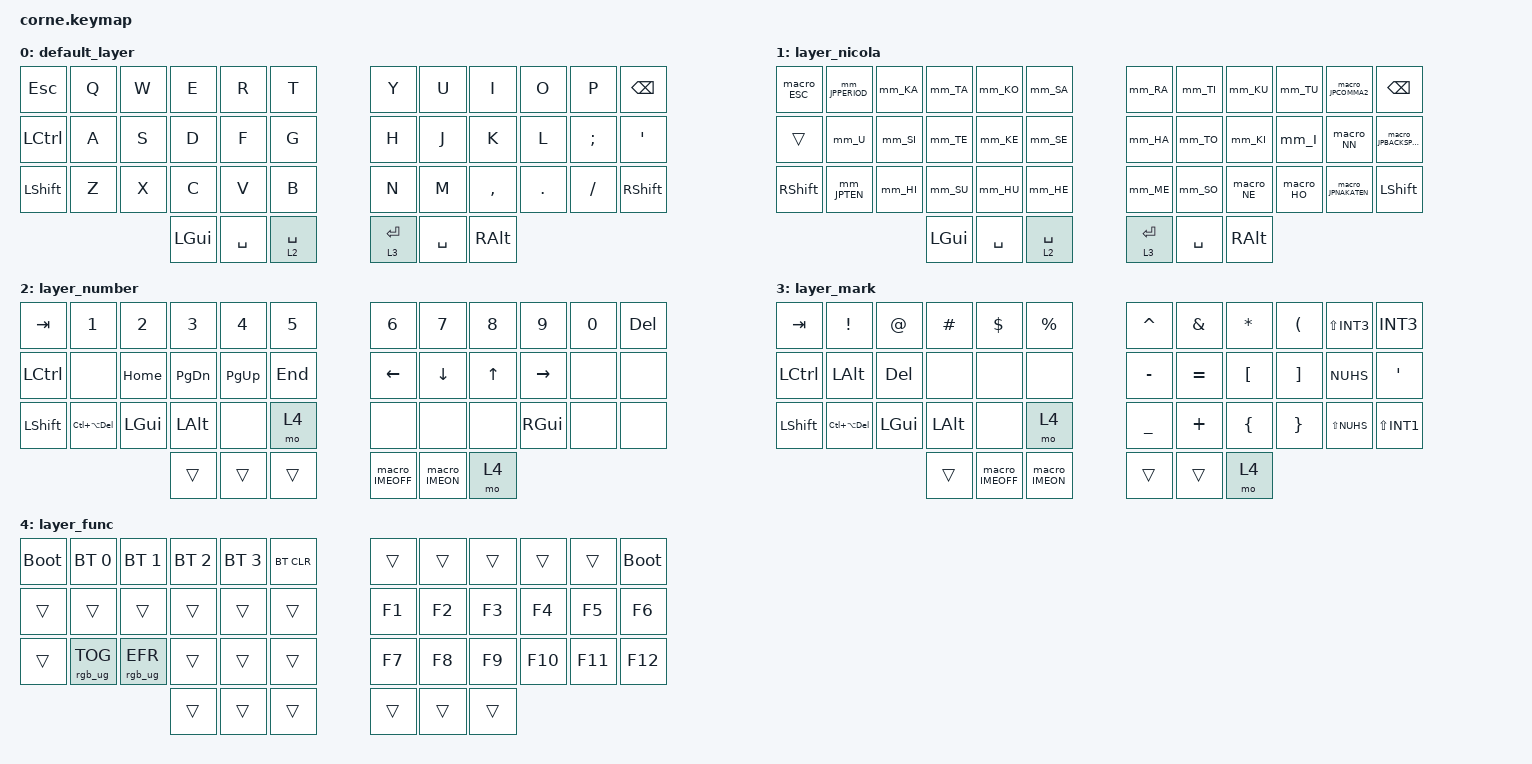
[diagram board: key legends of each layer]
/*
 * Copyright (c) 2020 The ZMK Contributors
 *
 * SPDX-License-Identifier: MIT
 */

#include <behaviors.dtsi>
#include <dt-bindings/zmk/bt.h>
#include <dt-bindings/zmk/keys.h>
#include <dt-bindings/zmk/rgb.h>
#include <dt-bindings/zmk/ext_power.h>
/ {
    behaviors {
        #include "macros.dtsi"
        #include "behaviors.keymap"
        hm: homerow_mods {
            compatible = "zmk,behavior-hold-tap";
            label = "HOMEROW_MODS";
            #binding-cells = <2>;
            tapping-term-ms = <200>;
            quick_tap_ms = <0>;
            flavor = "tap-preferred";
            bindings = <&kp>, <&kp>;

            quick-tap-ms = <180>;
            global-quick-tap;
        };

        ltq: ltq {
            compatible = "zmk,behavior-hold-tap";
            label = "LTQ";
            bindings = <&mo>, <&kp>;

            #binding-cells = <2>;
            tapping-term-ms = <600>;
            global-quick-tap;
            quick-tap-ms = <400>;
        };
    };

    combos {
        compatible = "zmk,combos";
        #include "combos.keymap"

        left_bkt {
            bindings = <&kp LEFT_BRACKET>;
            key-positions = <4 3>;
            timeout-ms = <50>;
        };

        right_bkt {
            bindings = <&kp RBKT>;
            key-positions = <7 8>;
            timeout-ms = <50>;
        };

        left_par {
            bindings = <&kp LEFT_PARENTHESIS>;
            key-positions = <15 16>;
            timeout-ms = <50>;
        };

        right_par {
            bindings = <&kp RIGHT_PARENTHESIS>;
            key-positions = <19 20>;
            timeout-ms = <50>;
        };

        left_brace {
            bindings = <&kp LEFT_BRACE>;
            key-positions = <27 28>;
            timeout-ms = <50>;
        };

        right_brace {
            bindings = <&kp RIGHT_BRACE>;
            key-positions = <32 31>;
            timeout-ms = <50>;
        };

        bac {
            bindings = <&kp BACKSLASH>;
            key-positions = <5 6>;
        };

        pipe {
            bindings = <&kp PIPE>;
            key-positions = <17 18>;
        };
    };

    keymap {
        compatible = "zmk,keymap";

        default_layer {
            bindings = <
&kp ESC    &kp Q   &kp W   &kp E   &kp R   &kp T   &kp Y   &kp U   &kp I   &kp O   &kp P   &kp BSPC
&kp LCTRL  &kp A   &kp S   &kp D   &kp F   &kp G   &kp H   &kp J   &kp K   &kp L   &kp SEMI &kp SQT
&kp LSHFT  &kp Z   &kp X   &kp C   &kp V   &kp B   &kp N   &kp M &kp COMMA &kp DOT &kp FSLH &kp RSHFT
            &kp LGUI  &kp SPACE  &lt 2 SPACE  &lt 3 ENTER  &kp SPACE  &kp RALT
            >;
        };

        layer_nicola {
            bindings = <
 &macro_ESC  &mm_JPPERIOD    &mm_KA    &mm_TA    &mm_KO    &mm_SA            &mm_RA    &mm_TI    &mm_KU    &mm_TU   &macro_JPCOMMA2     &kp BSPC
 &trans         &mm_U    &mm_SI    &mm_TE    &mm_KE    &mm_SE            &mm_HA    &mm_TO    &mm_KI    &mm_I    &macro_NN  &macro_JPBACKSPACE
 &kp RSHFT  &mm_JPTEN    &mm_HI    &mm_SU    &mm_HU    &mm_HE            &mm_ME    &mm_SO    &macro_NE  &macro_HO  &macro_JPNAKATEN         &kp LSHFT
             &kp LGUI  &kp SPACE  &lt 2 SPACE  &lt 3 ENTER  &kp SPACE  &kp RALT
           >;
        };


        layer_number {
            bindings = <
&kp TAB   &kp N1            &kp N2    &kp N3     &kp N4    &kp N5   &kp N6     &kp N7    &kp N8     &kp N9     &kp N0   &kp DEL
&kp LCTL  &none             &kp HOME  &kp PG_DN  &kp PG_UP &kp END  &kp LEFT   &kp DOWN  &kp UP     &kp RIGHT  &none    &none
&kp LSHFT &kp LC(LA(DEL))   &kp LGUI  &kp LALT   &none     &mo 4    &none      &none     &none      &kp RGUI   &none    &none
                                 &trans  &trans  &trans                &macro_IMEOFF &macro_IMEON  &mo 4
            >;
        };

        layer_mark {
            bindings = <
&kp TAB   &kp EXCL        &kp AT    &kp HASH  &kp DLLR &kp PRCNT /**/   &kp CARET  &kp AMPS  &kp ASTERISK  &kp LEFT_PARENTHESIS  &kp LS(INT3)     &kp INT3
&kp LCTRL &kp LALT        &kp DEL   &none     &none     &none    /**/   &kp MINUS  &kp EQUAL &kp LBKT      &kp RBKT              &kp NUHS     &kp SQT
&kp LSHFT &kp LC(LA(DEL)) &kp LGUI  &kp LALT  &none     &mo 4    /**/   &kp UNDER  &kp PLUS  &kp LBRC      &kp RBRC              &kp LS(NUHS) &kp LS(INT1)
                                     &trans   &macro_IMEOFF  &macro_IMEON           &trans    &trans    &mo 4
            >;
        };

        layer_func {
            bindings = <
&bootloader  &bt BT_SEL 0    &bt BT_SEL 1    &bt BT_SEL 2  &bt BT_SEL 3  &bt BT_CLR /**/ &trans  &trans  &trans  &trans  &trans  &bootloader
&trans       &trans          &trans          &trans        &trans        &trans     /**/ &kp F1  &kp F2  &kp F3  &kp F4  &kp F5  &kp F6
&trans       &rgb_ug RGB_TOG &rgb_ug RGB_EFR &trans        &trans        &trans     /**/ &kp F7  &kp F8  &kp F9  &kp F10  &kp F11  &kp F12
                                    &trans        &trans        &trans  &trans     &trans  &trans
            >;
        };

        extra1 {
            status = "reserved";
        };
        extra2 {
            status = "reserved";
        };
        extra3 {
            status = "reserved";
        };
        extra4 {
            status = "reserved";
        };

    };
};
